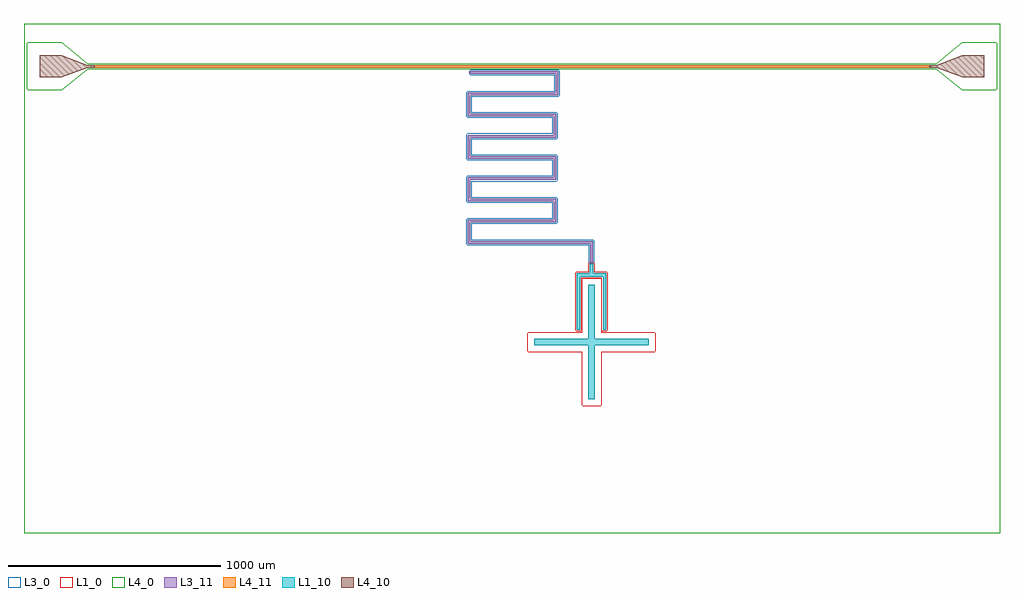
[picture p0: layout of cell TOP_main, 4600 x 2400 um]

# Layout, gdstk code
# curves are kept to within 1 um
import gdstk
lib = gdstk.Library(unit=1e-6, precision=1e-09)
def R(c, l, rs):  # rectangles x0, y0, x1, y1
    for r in rs: c.add(gdstk.rectangle(r[:2], r[2:], *l))
def P(c, l, *ps):  # polygons
    for p in ps: c.add(gdstk.Polygon(p, *l))
L1_0 = (1, 0)
L1_10 = (1, 10)
L3_0 = (3, 0)
L3_11 = (3, 11)
L4_0 = (4, 0)
L4_10 = (4, 10)
L4_11 = (4, 11)

ground_main_1 = lib.new_cell('ground_main_1')
P(ground_main_1, L1_0, [(2300,200),(-2300,200),(-2300,-1245.9),(300.7,-1245.9),(300.7,-970.7),(362.4,-970.7),(362.4,-925.7),(387.6,-925.7),(387.6,-970.7),(449.3,-970.7),(449.3,-1245.9),(424.1,-1245.9),(424.1,-995.9),(325.9,-995.9),(325.9,-1245.9),(300.7,-1245.9),(-2300,-1245.9),(-2300,-1345),(75,-1345),(75,-1255),(330,-1255),(330,-1000),(420,-1000),(420,-1255),(675,-1255),(675,-1345),(420,-1345),(420,-1600),(330,-1600),(330,-1345),(75,-1345),(-2300,-1345),(-2300,-2200),(2300,-2200)])

top_main_1 = lib.new_cell('TOP_main_1')
P(top_main_1, L1_10, [(105,-1315),(105,-1285),(360,-1285),(360,-1030),(390,-1030),(390,-1285),(645,-1285),(645,-1315),(390,-1315),(390,-1570),(360,-1570),(360,-1315),(105,-1315)],
  [(382.5,-930.8),(382.5,-975.8),(444.2,-975.8),(444.2,-1240.8),(429.2,-1240.8),(429.2,-990.8),(382.5,-990.8),(367.5,-990.8),(320.8,-990.8),(320.8,-1240.8),(305.8,-1240.8),(305.8,-975.8),(367.5,-975.8),(367.5,-930.8),(382.5,-930.8)])
top_main_1.add(gdstk.Reference(ground_main_1, (0,0)))

ground_main_3 = lib.new_cell('ground_main_3')
P(ground_main_3, L3_0, [(2300,200),(-2300,200),(-2300,-840.75),(-214.395,-840.75),(-214.395,-718.85),(192.495,-718.85),(192.495,-640.75),(-214.395,-640.75),(-214.395,-518.85),(192.495,-518.85),(192.495,-440.75),(-214.395,-440.75),(-214.395,-318.85),(192.495,-318.85),(192.495,-240.75),(-214.395,-240.75),(-214.395,-118.85),(201.933,-118.85),(201.933,-40.75),(-200,-40.75),(-200,-18.85),(223.833,-18.85),(223.833,-140.75),(-192.495,-140.75),(-192.495,-218.85),(214.395,-218.85),(214.395,-340.75),(-192.495,-340.75),(-192.495,-418.85),(214.395,-418.85),(214.395,-540.75),(-192.495,-540.75),(-192.495,-618.85),(214.395,-618.85),(214.395,-740.75),(-192.495,-740.75),(-192.495,-818.85),(385.95,-818.85),(385.95,-930.8),(364.05,-930.8),(364.05,-840.75),(-214.395,-840.75),(-2300,-840.75),(-2300,-2200),(2300,-2200)])

top_main_3 = lib.new_cell('TOP_main_3')
P(top_main_3, L3_11, [(-200,-23.95),(-200,-35.65),(207.033,-35.65),(207.033,-123.95),(-209.295,-123.95),(-209.295,-235.65),(197.595,-235.65),(197.595,-323.95),(-209.295,-323.95),(-209.295,-323.95),(-209.295,-435.65),(-209.295,-435.65),(197.595,-435.65),(197.595,-523.95),(-209.295,-523.95),(-209.295,-523.95),(-209.295,-635.65),(-209.295,-635.65),(197.595,-635.65),(197.595,-723.95),(-209.295,-723.95),(-209.295,-723.95),(-209.295,-835.65),(-209.295,-835.65),(369.15,-835.65),(369.15,-930.8),(380.85,-930.8),(380.85,-823.95),(380.85,-823.95),(-197.595,-823.95),(-197.595,-735.65),(209.295,-735.65),(209.295,-735.65),(209.295,-623.95),(209.295,-623.95),(-197.595,-623.95),(-197.595,-535.65),(209.295,-535.65),(209.295,-535.65),(209.295,-423.95),(209.295,-423.95),(-197.595,-423.95),(-197.595,-335.65),(209.295,-335.65),(209.295,-335.65),(209.295,-223.95),(-197.595,-223.95),(-197.595,-135.65),(218.733,-135.65),(218.733,-23.95),(218.733,-23.95)])
top_main_3.add(gdstk.Reference(ground_main_3, (0,0)))

ground_main_4 = lib.new_cell('ground_main_4')
P(ground_main_4, L4_0, [(2300,200),(-2300,200),(-2300,-111.5),(-2285,-111.5),(-2285,111.5),(-2122,111.5),(-2000,10.95),(2000,10.95),(2122,111.5),(2285,111.5),(2285,-111.5),(2122,-111.5),(2000,-10.95),(-2000,-10.95),(-2122,-111.5),(-2300,-111.5),(-2300,-2200),(2300,-2200)])

top_main_4 = lib.new_cell('TOP_main_4')
P(top_main_4, L4_10, [(-2000,5.85),(-2122,51.5),(-2225,51.5),(-2225,-51.5),(-2122,-51.5),(-2000,-5.85),(-1970,-5.85),(-1970,5.85),(-2000,5.85)],
  [(2000,-5.85),(2122,-51.5),(2225,-51.5),(2225,51.5),(2122,51.5),(2000,5.85),(1970,5.85),(1970,-5.85),(2000,-5.85)])
R(top_main_4, L4_11, [(-1970,-5.85,1970,5.85)])
top_main_4.add(gdstk.Reference(ground_main_4, (0,0)))

top_main = lib.new_cell('TOP_main')
top_main.add(gdstk.Reference(top_main_1, (0,0)))
top_main.add(gdstk.Reference(top_main_3, (0,0)))
top_main.add(gdstk.Reference(top_main_4, (0,0)))

lib.write_gds('TOP_main.gds')
